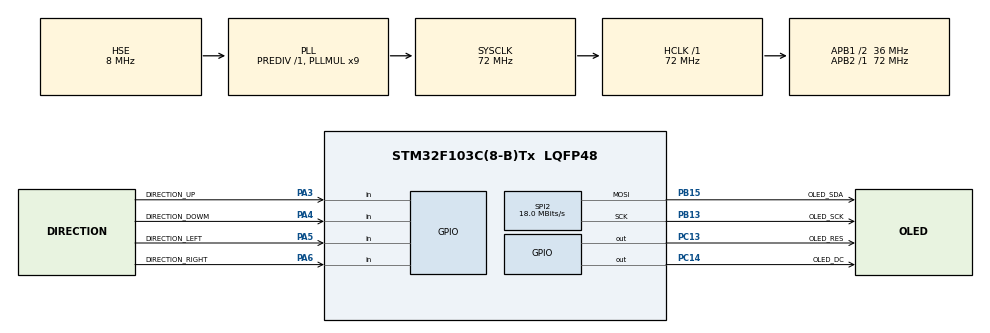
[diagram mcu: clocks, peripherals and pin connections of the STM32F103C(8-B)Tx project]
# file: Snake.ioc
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Dma.Request0=SPI2_TX
Dma.SPI2_TX.0.Direction=DMA_MEMORY_TO_PERIPH
Dma.SPI2_TX.0.Instance=DMA1_Channel5
Dma.SPI2_TX.0.MemDataAlignment=DMA_MDATAALIGN_BYTE
Dma.SPI2_TX.0.MemInc=DMA_MINC_ENABLE
Dma.SPI2_TX.0.Mode=DMA_NORMAL
Dma.SPI2_TX.0.PeriphDataAlignment=DMA_PDATAALIGN_BYTE
Dma.SPI2_TX.0.PeriphInc=DMA_PINC_DISABLE
Dma.SPI2_TX.0.Priority=DMA_PRIORITY_MEDIUM
FREERTOS.Tasks01=defaultTask,24,128,StartDefaultTask,Default,NULL,Dynamic,NULL,NULL;keyScanTask,24,128,StartKeyScanTask,Default,NULL,Dynamic,NULL,NULL
Mcu.Family=STM32F1
Mcu.Name=STM32F103C(8-B)Tx
Mcu.Package=LQFP48
NVIC.DMA1_Channel5_IRQn=true\:5\:0\:false\:false\:true\:true\:false\:true\:true
NVIC.PriorityGroup=NVIC_PRIORITYGROUP_4
NVIC.TIM4_IRQn=true\:5\:0\:false\:false\:true\:true\:true\:true\:true
PA13.Mode=Serial_Wire
PA13.Signal=SYS_JTMS-SWDIO
PA14.Mode=Serial_Wire
PA14.Signal=SYS_JTCK-SWCLK
PA3.GPIO_Label=DIRECTION_UP
PA3.Signal=GPIO_Input
PA4.GPIO_Label=DIRECTION_DOWM
PA4.Signal=GPIO_Input
PA5.GPIO_Label=DIRECTION_LEFT
PA5.Signal=GPIO_Input
PA6.GPIO_Label=DIRECTION_RIGHT
PA6.Signal=GPIO_Input
PB13.GPIO_Label=OLED_SCK
PB13.Mode=TX_Only_Simplex_Unidirect_Master
PB13.Signal=SPI2_SCK
PB15.GPIO_Label=OLED_SDA
PB15.Mode=TX_Only_Simplex_Unidirect_Master
PB15.Signal=SPI2_MOSI
PC13-TAMPER-RTC.GPIO_Label=OLED_RES
PC13-TAMPER-RTC.GPIO_Speed=GPIO_SPEED_FREQ_HIGH
PC13-TAMPER-RTC.Signal=GPIO_Output
PC14-OSC32_IN.GPIO_Label=OLED_DC
PC14-OSC32_IN.GPIO_Speed=GPIO_SPEED_FREQ_HIGH
PC14-OSC32_IN.Signal=GPIO_Output
PD0-OSC_IN.Mode=HSE-External-Oscillator
PD0-OSC_IN.Signal=RCC_OSC_IN
PD1-OSC_OUT.Mode=HSE-External-Oscillator
PD1-OSC_OUT.Signal=RCC_OSC_OUT
ProjectManager.HeapSize=0x200
ProjectManager.StackSize=0x400
ProjectManager.TargetToolchain=STM32CubeIDE
RCC.AHBFreq_Value=72000000
RCC.APB1CLKDivider=RCC_HCLK_DIV2
RCC.APB1Freq_Value=36000000
RCC.APB1TimFreq_Value=72000000
RCC.APB2Freq_Value=72000000
RCC.APB2TimFreq_Value=72000000
RCC.HCLKFreq_Value=72000000
RCC.PLLMUL=RCC_PLL_MUL9
RCC.PLLSourceVirtual=RCC_PLLSOURCE_HSE
RCC.SYSCLKFreq_VALUE=72000000
RCC.SYSCLKSource=RCC_SYSCLKSOURCE_PLLCLK
RCC.USBFreq_Value=72000000
SPI2.CalculateBaudRate=18.0 MBits/s
SPI2.Direction=SPI_DIRECTION_2LINES
SPI2.Mode=SPI_MODE_MASTER
SPI2.VirtualType=VM_MASTER
TIM4.AutoReloadPreload=TIM_AUTORELOAD_PRELOAD_ENABLE
TIM4.Period=10 * 33
TIM4.Prescaler=7200 - 1
VP_FREERTOS_VS_CMSIS_V2.Mode=CMSIS_V2
VP_TIM4_VS_ClockSourceINT.Mode=Internal
board=custom

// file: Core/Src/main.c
/* USER CODE BEGIN Header */
/**
  ******************************************************************************
  * @file           : main.c
  * @brief          : Main program body
  ******************************************************************************
  * @attention
  *
  * Copyright (c) 2022 STMicroelectronics.
  * All rights reserved.
  *
  * This software is licensed under terms that can be found in the LICENSE file
  * in the root directory of this software component.
  * If no LICENSE file comes with this software, it is provided AS-IS.
  *
  ******************************************************************************
  */
/* USER CODE END Header */
#include "main.h"
#include "cmsis_os.h"
#include "dma.h"
#include "spi.h"
#include "tim.h"
#include "gpio.h"

void SystemClock_Config(void);
void MX_FREERTOS_Init(void);

int main(void)
{

  /* MCU Configuration--------------------------------------------------------*/

  /* Reset of all peripherals, Initializes the Flash interface and the Systick. */
  HAL_Init();

  /* Configure the system clock */
  SystemClock_Config();

  /* Initialize all configured peripherals */
  MX_GPIO_Init();
  MX_DMA_Init();
  MX_SPI2_Init();
  MX_TIM4_Init();

  /* Init scheduler */
  osKernelInitialize();  /* Call init function for freertos objects (in freertos.c) */
  MX_FREERTOS_Init();

  /* Start scheduler */
  osKernelStart();

  /* We should never get here as control is now taken by the scheduler */
  /* Infinite loop */
  while (1)
  {

  }
}

void SystemClock_Config(void)
{
  RCC_OscInitTypeDef RCC_OscInitStruct = {0};
  RCC_ClkInitTypeDef RCC_ClkInitStruct = {0};

  /** Initializes the RCC Oscillators according to the specified parameters
  * in the RCC_OscInitTypeDef structure.
  */
  RCC_OscInitStruct.OscillatorType = RCC_OSCILLATORTYPE_HSE;
  RCC_OscInitStruct.HSEState = RCC_HSE_ON;
  RCC_OscInitStruct.HSEPredivValue = RCC_HSE_PREDIV_DIV1;
  RCC_OscInitStruct.HSIState = RCC_HSI_ON;
  RCC_OscInitStruct.PLL.PLLState = RCC_PLL_ON;
  RCC_OscInitStruct.PLL.PLLSource = RCC_PLLSOURCE_HSE;
  RCC_OscInitStruct.PLL.PLLMUL = RCC_PLL_MUL9;
  if (HAL_RCC_OscConfig(&RCC_OscInitStruct) != HAL_OK)
  {
    Error_Handler();
  }

  /** Initializes the CPU, AHB and APB buses clocks
  */
  RCC_ClkInitStruct.ClockType = RCC_CLOCKTYPE_HCLK|RCC_CLOCKTYPE_SYSCLK
                              |RCC_CLOCKTYPE_PCLK1|RCC_CLOCKTYPE_PCLK2;
  RCC_ClkInitStruct.SYSCLKSource = RCC_SYSCLKSOURCE_PLLCLK;
  RCC_ClkInitStruct.AHBCLKDivider = RCC_SYSCLK_DIV1;
  RCC_ClkInitStruct.APB1CLKDivider = RCC_HCLK_DIV2;
  RCC_ClkInitStruct.APB2CLKDivider = RCC_HCLK_DIV1;

  if (HAL_RCC_ClockConfig(&RCC_ClkInitStruct, FLASH_LATENCY_2) != HAL_OK)
  {
    Error_Handler();
  }
}

void Error_Handler(void)
{
  __disable_irq();
  while (1)
  {
  }
}

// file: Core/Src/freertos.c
/* USER CODE BEGIN Header */
/**
  ******************************************************************************
  * File Name          : freertos.c
  * Description        : Code for freertos applications
  ******************************************************************************
  * @attention
  *
  * Copyright (c) 2022 STMicroelectronics.
  * All rights reserved.
  *
  * This software is licensed under terms that can be found in the LICENSE file
  * in the root directory of this software component.
  * If no LICENSE file comes with this software, it is provided AS-IS.
  *
  ******************************************************************************
  */
/* USER CODE END Header */

#include "FreeRTOS.h"
#include "task.h"
#include "main.h"
#include "cmsis_os.h"

/* USER CODE BEGIN Includes */
#include <stdlib.h>
#include "tim.h"
#include "key.h"
#include "oled.h"
#include "snake.h"
/* USER CODE END Includes */

/* USER CODE BEGIN Variables */

// 食物被吃标志
uint8_t bFoodHasEaten;

uint32_t row, col;

/* USER CODE END Variables */
/* Definitions for defaultTask */
osThreadId_t defaultTaskHandle;
const osThreadAttr_t defaultTask_attributes = {
  .name = "defaultTask",
  .stack_size = 128 * 4,
  .priority = (osPriority_t) osPriorityNormal,
};
/* Definitions for keyScanTask */
osThreadId_t keyScanTaskHandle;
const osThreadAttr_t keyScanTask_attributes = {
  .name = "keyScanTask",
  .stack_size = 128 * 4,
  .priority = (osPriority_t) osPriorityNormal,
};

void StartDefaultTask(void *argument);
void StartKeyScanTask(void *argument);

void MX_FREERTOS_Init(void); /* (MISRA C 2004 rule 8.1) */

void MX_FREERTOS_Init(void) {
  /* USER CODE BEGIN Init */
	srand((uint32_t)0);

	KeyInit();
	OledInit();

	__HAL_TIM_CLEAR_FLAG(&htim4, TIM_FLAG_UPDATE);
	HAL_TIM_Base_Start_IT(&htim4);

	HAL_Delay(500);
	OledClear();

  /* USER CODE END Init */

  /* Create the thread(s) */
  /* creation of defaultTask */
  defaultTaskHandle = osThreadNew(StartDefaultTask, NULL, &defaultTask_attributes);

  /* creation of keyScanTask */
  keyScanTaskHandle = osThreadNew(StartKeyScanTask, NULL, &keyScanTask_attributes);

}

void StartDefaultTask(void *argument)
{
  /* USER CODE BEGIN StartDefaultTask */

	// 绘制边框
	DrawBorder();

	row = 50;
	DrawHead(row, 20);

	//OledSyncCache();

	/* Infinite loop */
	for (;;)
	{
		//DrawBorder();

		osDelay(1);
	}
  /* USER CODE END StartDefaultTask */
}

void StartKeyScanTask(void *argument)
{
  /* USER CODE BEGIN StartKeyScanTask */
  /* Infinite loop */
  for(;;)
  {

	  // 上
	  if (KeyScan() == KEY1)
	  {
		  ClearMap();

		  row -= 2;
		  DrawHead(row, 20);

		  bFoodHasEaten ^= 1;
	  }

    osDelay(1);
  }
  /* USER CODE END StartKeyScanTask */
}

/* USER CODE BEGIN Application */

/**
  * @brief  TIM4 33ms 定时中断回调
  * @param  htim TIM handle
  * @retval None
  */
void HAL_TIM_PeriodElapsedCallback(TIM_HandleTypeDef *htim)
{
	static uint32_t count;

	// 一秒定时时间到
	if (++count == 30)
	{
		count = 0;

		// 食物被吃
		if (bFoodHasEaten)
		{
			CreateFood(rand() % 50, rand() % 120);
		}
	}

	/* 检查是不是TIM4的中断 */
	if (htim->Instance == TIM4)
	{
		__HAL_TIM_CLEAR_IT(htim, TIM_IT_UPDATE);

		/* 每33ms刷新一次, 大概实现每秒30帧的效果 */
		OledSyncCache();
	}
}

/* USER CODE END Application */
